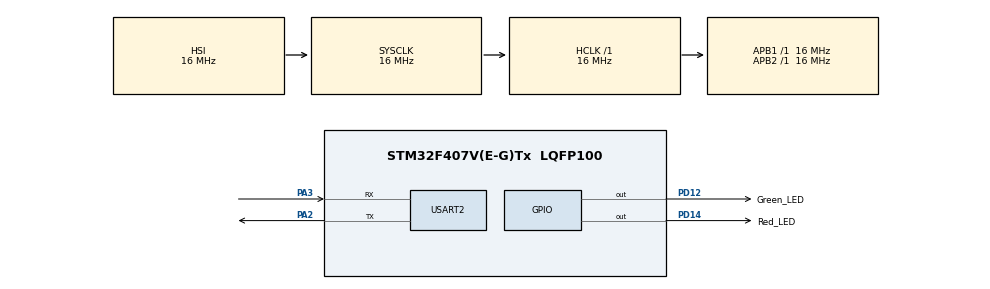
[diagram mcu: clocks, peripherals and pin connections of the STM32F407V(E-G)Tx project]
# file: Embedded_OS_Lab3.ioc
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Mcu.Family=STM32F4
Mcu.Name=STM32F407V(E-G)Tx
Mcu.Package=LQFP100
NVIC.PriorityGroup=NVIC_PRIORITYGROUP_4
NVIC.TIM7_IRQn=true\:0\:0\:false\:false\:true\:false\:true
NVIC.TimeBase=TIM7_IRQn
NVIC.TimeBaseIP=TIM7
PA13.Mode=Serial_Wire
PA13.Signal=SYS_JTMS-SWDIO
PA14.Mode=Serial_Wire
PA14.Signal=SYS_JTCK-SWCLK
PA2.Mode=Asynchronous
PA2.Signal=USART2_TX
PA3.Mode=Asynchronous
PA3.Signal=USART2_RX
PD12.GPIO_Label=Green_LED
PD12.Signal=GPIO_Output
PD14.GPIO_Label=Red_LED
PD14.Signal=GPIO_Output
ProjectManager.HeapSize=0x200
ProjectManager.StackSize=0x400
ProjectManager.TargetToolchain=STM32CubeIDE
RCC.AHBFreq_Value=16000000
RCC.APB1Freq_Value=16000000
RCC.APB2Freq_Value=16000000
RCC.CortexFreq_Value=16000000
RCC.HSE_VALUE=25000000
RCC.HSI_VALUE=16000000
RCC.LSE_VALUE=32768
RCC.SYSCLKFreq_VALUE=16000000
RCC.VCOOutputFreq_Value=192000000
USART2.VirtualMode=VM_ASYNC
VP_SYS_VS_tim7.Mode=TIM7
board=custom

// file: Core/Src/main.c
/* USER CODE BEGIN Header */
/**
  ******************************************************************************
  * @file           : main.c
  * @brief          : Main program body
  ******************************************************************************
  * @attention
  *
  * <h2><center>&copy; Copyright (c) 2021 STMicroelectronics.
  * All rights reserved.</center></h2>
  *
  * This software component is licensed by ST under BSD 3-Clause license,
  * the "License"; You may not use this file except in compliance with the
  * License. You may obtain a copy of the License at:
  *                        opensource.org/licenses/BSD-3-Clause
  *
  ******************************************************************************
  */
/* USER CODE END Header */
#include "main.h"

/* USER CODE BEGIN Includes */
#include "FreeRTOS.h"
#include "task.h"
/* USER CODE END Includes */

UART_HandleTypeDef huart2;

void SystemClock_Config(void);
static void MX_GPIO_Init(void);
static void MX_USART2_UART_Init(void);
/* USER CODE BEGIN PFP */
void Red_LED_App(void *pvParameters);
void Green_LED_App(void *pvParameters);
void TaskMonitor_App(void *pvParameters);
void Delay_App(void *pvParameters);
/* USER CODE END PFP */

int main(void)
{

  /* MCU Configuration--------------------------------------------------------*/

  /* Reset of all peripherals, Initializes the Flash interface and the Systick. */
  HAL_Init();

  /* Configure the system clock */
  SystemClock_Config();

  /* Initialize all configured peripherals */
  MX_GPIO_Init();
  MX_USART2_UART_Init();
  /* USER CODE BEGIN 2 */
  xTaskCreate(Red_LED_App,"Red_LEDTask",130,(void *) NULL,1,NULL);
  xTaskCreate(Green_LED_App,"Green_LEDTask",130,(void *) NULL,1,NULL);
  xTaskCreate(TaskMonitor_App,"TaskMonitor",130,(void *) NULL,2,NULL);
  xTaskCreate(Delay_App,"Task_delay",130,(void *) NULL,3,NULL);

  vTaskStartScheduler();
  /* USER CODE END 2 */

  /* Infinite loop */
  while (1)
  {

  }
}

void SystemClock_Config(void)
{
  RCC_OscInitTypeDef RCC_OscInitStruct = {0};
  RCC_ClkInitTypeDef RCC_ClkInitStruct = {0};

  /** Configure the main internal regulator output voltage
  */
  __HAL_RCC_PWR_CLK_ENABLE();
  __HAL_PWR_VOLTAGESCALING_CONFIG(PWR_REGULATOR_VOLTAGE_SCALE1);
  /** Initializes the RCC Oscillators according to the specified parameters
  * in the RCC_OscInitTypeDef structure.
  */
  RCC_OscInitStruct.OscillatorType = RCC_OSCILLATORTYPE_HSI;
  RCC_OscInitStruct.HSIState = RCC_HSI_ON;
  RCC_OscInitStruct.HSICalibrationValue = RCC_HSICALIBRATION_DEFAULT;
  RCC_OscInitStruct.PLL.PLLState = RCC_PLL_NONE;
  if (HAL_RCC_OscConfig(&RCC_OscInitStruct) != HAL_OK)
  {
    Error_Handler();
  }
  /** Initializes the CPU, AHB and APB buses clocks
  */
  RCC_ClkInitStruct.ClockType = RCC_CLOCKTYPE_HCLK|RCC_CLOCKTYPE_SYSCLK
                              |RCC_CLOCKTYPE_PCLK1|RCC_CLOCKTYPE_PCLK2;
  RCC_ClkInitStruct.SYSCLKSource = RCC_SYSCLKSOURCE_HSI;
  RCC_ClkInitStruct.AHBCLKDivider = RCC_SYSCLK_DIV1;
  RCC_ClkInitStruct.APB1CLKDivider = RCC_HCLK_DIV1;
  RCC_ClkInitStruct.APB2CLKDivider = RCC_HCLK_DIV1;

  if (HAL_RCC_ClockConfig(&RCC_ClkInitStruct, FLASH_LATENCY_0) != HAL_OK)
  {
    Error_Handler();
  }
}

static void MX_USART2_UART_Init(void)
{

  huart2.Instance = USART2;
  huart2.Init.BaudRate = 115200;
  huart2.Init.WordLength = UART_WORDLENGTH_8B;
  huart2.Init.StopBits = UART_STOPBITS_1;
  huart2.Init.Parity = UART_PARITY_NONE;
  huart2.Init.Mode = UART_MODE_TX_RX;
  huart2.Init.HwFlowCtl = UART_HWCONTROL_NONE;
  huart2.Init.OverSampling = UART_OVERSAMPLING_16;
  if (HAL_UART_Init(&huart2) != HAL_OK)
  {
    Error_Handler();
  }

}

static void MX_GPIO_Init(void)
{
  GPIO_InitTypeDef GPIO_InitStruct = {0};

  /* GPIO Ports Clock Enable */
  __HAL_RCC_GPIOA_CLK_ENABLE();
  __HAL_RCC_GPIOD_CLK_ENABLE();

  /*Configure GPIO pin Output Level */
  HAL_GPIO_WritePin(GPIOD, Green_LED_Pin|Red_LED_Pin, GPIO_PIN_RESET);

  /*Configure GPIO pins : Green_LED_Pin Red_LED_Pin */
  GPIO_InitStruct.Pin = Green_LED_Pin|Red_LED_Pin;
  GPIO_InitStruct.Mode = GPIO_MODE_OUTPUT_PP;
  GPIO_InitStruct.Pull = GPIO_NOPULL;
  GPIO_InitStruct.Speed = GPIO_SPEED_FREQ_LOW;
  HAL_GPIO_Init(GPIOD, &GPIO_InitStruct);

}

/* USER CODE BEGIN 4 */
void Red_LED_App(void *pvParameters){
	uint32_t Redtimer = 500;
	while(1){
		HAL_GPIO_TogglePin(GPIOD,Red_LED_Pin);
		vTaskDelay(Redtimer);
		Redtimer += 1;
	}
}
void Green_LED_App(void *pvParameters){
	uint32_t Greentimer = 1000;
	while(1){
		HAL_GPIO_TogglePin(GPIOD,Green_LED_Pin);
		vTaskDelay(Greentimer);
		Greentimer += 2;
	}
}
void TaskMonitor_App(void *pvParameters){
	uint32_t Monitortimer = 200;
	char MonitorTset[20];
	char num[15];
	int i = 0;
	while(1){
//		memset(MonitorTset,'\0',sizeof(MonitorTset));
//		memset(num,'\0',sizeof(num));
//		itoa(i,num,10);
//		strcat(num," ");
//		sprintf(MonitorTset,"The point is %s\n\r",num);
//		HAL_UART_Transmit(&huart2,(uint8_t *)MonitorTset,strlen(MonitorTset),0xffff);
		Taskmonitor();
		vTaskDelay(Monitortimer);
		Monitortimer += 1;
		i += 1;
	}
}
void Delay_App(void *pvParameters){
	while(1){
		vTaskDelay(15000);
	}
}
/* USER CODE END 4 */

 /**
  * @brief  Period elapsed callback in non blocking mode
  * @note   This function is called  when TIM7 interrupt took place, inside
  * HAL_TIM_IRQHandler(). It makes a direct call to HAL_IncTick() to increment
  * a global variable "uwTick" used as application time base.
  * @param  htim : TIM handle
  * @retval None
  */
void HAL_TIM_PeriodElapsedCallback(TIM_HandleTypeDef *htim)
{
  if (htim->Instance == TIM7) {
    HAL_IncTick();
  }
}

void Error_Handler(void)
{
  __disable_irq();
  while (1)
  {
  }
}

/************************ (C) COPYRIGHT STMicroelectronics *****END OF FILE****/
